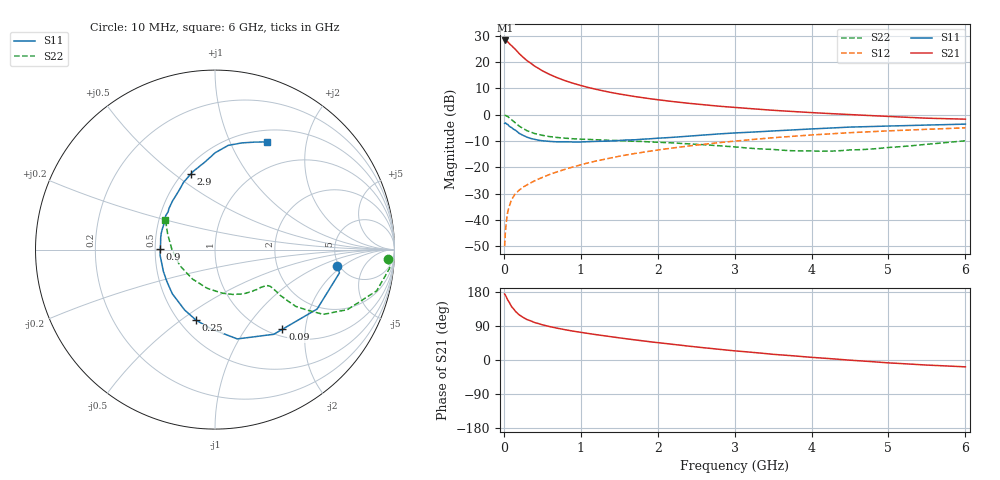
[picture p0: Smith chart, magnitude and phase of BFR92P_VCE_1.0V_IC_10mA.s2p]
! Infineon Technologies  Discrete & RF Semiconductors
! BFR92P
! VCE =  1.0 V,  IC =  10 mA
! Common Emitter S-Parameters:  Apr 2014
# GHz  S  MA  R  50
!  f  S11  S21  S12  S22
! GHz  MAG  ANG  MAG  ANG  MAG  ANG  MAG  ANG
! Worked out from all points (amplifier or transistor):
!   77 points, 10 MHz to 6 GHz, reference 50 ohm
!   highest |S21| = 28.2 dB at 20 MHz (marker M1)
!   |S21| within 3 dB of that: start of sweep to 135.7 MHz
!   unconditionally stable (mu >= 1): 615.1 MHz to 2.95 GHz
!   at 130 MHz: K = 0.41, MSG = 28.1 dB, |S12| = -30.8 dB
!   at 2.2 GHz: K = 1.05, MAG = 7.4 dB, |S12| = -12.6 dB
!   at 6 GHz: K = 0.92, MSG = 1.6 dB, |S12| = -4.9 dB
!   S11 on the Smith chart (normalised r, x): 10 MHz: 4.79, -1.65; 90 MHz: 1.13, -1.51; 250 MHz: 0.61, -0.57; 900 MHz: 0.53, +0.01; 2.9 GHz: 0.55, +0.58; 6 GHz: 0.64, +1.39
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0.01  0.6866 -7.6  25.38 174.2  0.0032 86.8  0.9638 -3.1
0.02  0.7054 -10.6  25.84 171.2  0.0058 86.4  0.9791 -6.0
0.05  0.6583 -30.2  24.39 158.6  0.0142 76.7  0.9297 -14.3
0.09  0.5813 -49.8  21.19 144.8  0.0222 68.6  0.8309 -22.2
0.1  0.5742 -55.3  20.61 140.8  0.0242 67.4  0.8091 -24.5
0.15  0.5129 -76.0  17.49 128.6  0.0318 62.4  0.7023 -30.9
0.2  0.4441 -92.1  14.54 119.0  0.0371 60.7  0.6098 -33.4
0.25  0.4076 -104.8  12.41 112.6  0.0424 59.8  0.5509 -35.1
0.3  0.377 -116.6  10.74 106.8  0.0465 59.5  0.4999 -35.2
0.4  0.3421 -134.1  8.411 98.8  0.0558 60.7  0.4416 -35.0
0.5  0.3217 -146.4  6.874 92.9  0.0646 62.1  0.4078 -34.2
0.6  0.3123 -157.1  5.802 88.0  0.0741 63.5  0.3852 -33.8
0.7  0.3062 -165.9  5.025 83.7  0.0833 64.1  0.3703 -33.6
0.9  0.3049 179.2  3.978 76.2  0.1024 64.8  0.351 -34.8
1.1  0.3091 168.4  3.3 69.9  0.1227 64.4  0.3414 -36.8
1.5  0.3256 149.6  2.488 58.5  0.1633 62.4  0.3239 -43.0
2.1  0.3662 128.1  1.858 43.6  0.2247 57.3  0.2969 -55.0
2.9  0.443 107.5  1.419 26.2  0.3061 48.8  0.2518 -76.7
3.1  0.4597 103.5  1.348 22.5  0.3261 46.3  0.2386 -84.3
4.1  0.548 88.4  1.082 5.6  0.4227 33.9  0.2041 -133.2
5.1  0.6172 74.7  0.917 -8.7  0.5027 20.6  0.245 176.1
6  0.6659 64.3  0.827 -18.1  0.5667 8.9  0.3219 149.1
